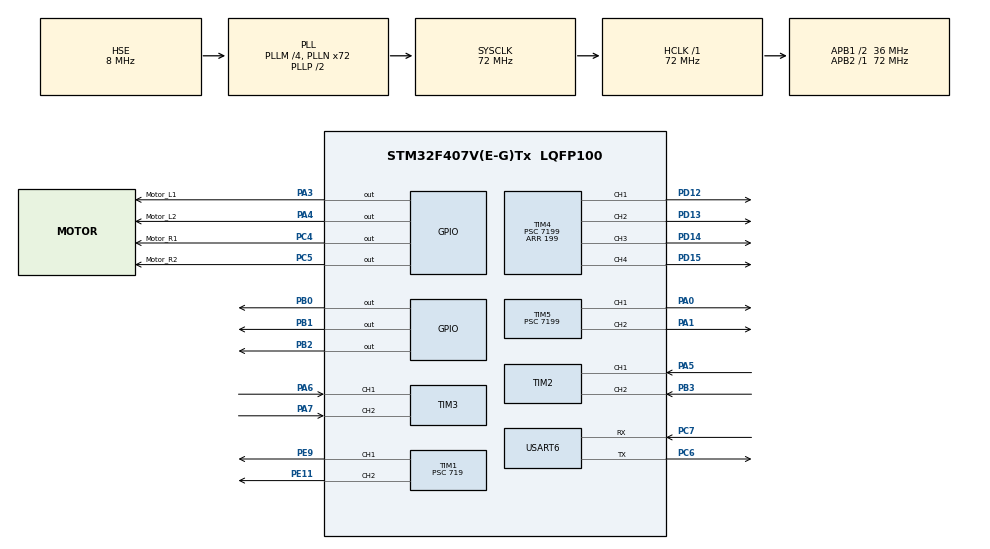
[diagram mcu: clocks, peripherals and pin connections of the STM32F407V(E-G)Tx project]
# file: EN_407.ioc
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Dma.Request0=USART6_RX
Dma.Request1=USART6_TX
Dma.USART6_RX.0.Direction=DMA_PERIPH_TO_MEMORY
Dma.USART6_RX.0.FIFOMode=DMA_FIFOMODE_DISABLE
Dma.USART6_RX.0.Instance=DMA2_Stream1
Dma.USART6_RX.0.MemDataAlignment=DMA_MDATAALIGN_BYTE
Dma.USART6_RX.0.MemInc=DMA_MINC_ENABLE
Dma.USART6_RX.0.Mode=DMA_CIRCULAR
Dma.USART6_RX.0.PeriphDataAlignment=DMA_PDATAALIGN_BYTE
Dma.USART6_RX.0.PeriphInc=DMA_PINC_DISABLE
Dma.USART6_RX.0.Priority=DMA_PRIORITY_MEDIUM
Dma.USART6_TX.1.Direction=DMA_MEMORY_TO_PERIPH
Dma.USART6_TX.1.FIFOMode=DMA_FIFOMODE_DISABLE
Dma.USART6_TX.1.Instance=DMA2_Stream6
Dma.USART6_TX.1.MemDataAlignment=DMA_MDATAALIGN_BYTE
Dma.USART6_TX.1.MemInc=DMA_MINC_ENABLE
Dma.USART6_TX.1.Mode=DMA_NORMAL
Dma.USART6_TX.1.PeriphDataAlignment=DMA_PDATAALIGN_BYTE
Dma.USART6_TX.1.PeriphInc=DMA_PINC_DISABLE
Dma.USART6_TX.1.Priority=DMA_PRIORITY_MEDIUM
Mcu.Family=STM32F4
Mcu.Name=STM32F407V(E-G)Tx
Mcu.Package=LQFP100
NVIC.DMA2_Stream1_IRQn=true\:0\:0\:false\:false\:true\:false\:true\:true
NVIC.DMA2_Stream6_IRQn=true\:0\:0\:false\:false\:true\:false\:true\:true
NVIC.PriorityGroup=NVIC_PRIORITYGROUP_4
NVIC.TIM1_CC_IRQn=true\:0\:0\:false\:false\:true\:true\:true\:true
NVIC.TIM2_IRQn=true\:0\:0\:false\:false\:true\:true\:true\:true
NVIC.TIM3_IRQn=true\:0\:0\:false\:false\:true\:true\:true\:true
NVIC.TIM4_IRQn=true\:0\:0\:false\:false\:true\:true\:true\:true
NVIC.TIM5_IRQn=true\:0\:0\:false\:false\:true\:true\:true\:true
NVIC.TIM6_DAC_IRQn=true\:1\:0\:true\:false\:true\:true\:true\:true
NVIC.USART6_IRQn=true\:2\:0\:true\:false\:true\:true\:true\:true
PA0-WKUP.Signal=S_TIM5_CH1
PA1.Signal=S_TIM5_CH2
PA13.Mode=Serial_Wire
PA13.Signal=SYS_JTMS-SWDIO
PA14.Mode=Serial_Wire
PA14.Signal=SYS_JTCK-SWCLK
PA3.GPIO_Label=Motor_L1
PA3.GPIO_PuPd=GPIO_PULLDOWN
PA3.GPIO_Speed=GPIO_SPEED_FREQ_HIGH
PA3.Signal=GPIO_Output
PA4.GPIO_Label=Motor_L2
PA4.GPIO_PuPd=GPIO_PULLDOWN
PA4.GPIO_Speed=GPIO_SPEED_FREQ_HIGH
PA4.Signal=GPIO_Output
PA5.Signal=S_TIM2_CH1_ETR
PA6.Signal=S_TIM3_CH1
PA7.Signal=S_TIM3_CH2
PB0.GPIO_ModeDefaultOutputPP=GPIO_MODE_OUTPUT_PP
PB0.GPIO_PuPd=GPIO_PULLDOWN
PB0.GPIO_Speed=GPIO_SPEED_FREQ_HIGH
PB0.Signal=GPIO_Output
PB1.GPIO_PuPd=GPIO_PULLDOWN
PB1.GPIO_Speed=GPIO_SPEED_FREQ_HIGH
PB1.Signal=GPIO_Output
PB2.GPIO_ModeDefaultOutputPP=GPIO_MODE_OUTPUT_PP
PB2.GPIO_PuPd=GPIO_PULLDOWN
PB2.GPIO_Speed=GPIO_SPEED_FREQ_HIGH
PB2.Signal=GPIO_Output
PB3.Signal=S_TIM2_CH2
PC4.GPIO_Label=Motor_R1
PC4.GPIO_PuPd=GPIO_PULLDOWN
PC4.GPIO_Speed=GPIO_SPEED_FREQ_HIGH
PC4.Signal=GPIO_Output
PC5.GPIO_Label=Motor_R2
PC5.GPIO_PuPd=GPIO_PULLDOWN
PC5.GPIO_Speed=GPIO_SPEED_FREQ_HIGH
PC5.Signal=GPIO_Output
PC6.Mode=Asynchronous
PC6.Signal=USART6_TX
PC7.Mode=Asynchronous
PC7.Signal=USART6_RX
PD12.Signal=S_TIM4_CH1
PD13.Signal=S_TIM4_CH2
PD14.Signal=S_TIM4_CH3
PD15.Signal=S_TIM4_CH4
PE11.Signal=S_TIM1_CH2
PE9.Signal=S_TIM1_CH1
PH0-OSC_IN.Mode=HSE-External-Oscillator
PH0-OSC_IN.Signal=RCC_OSC_IN
PH1-OSC_OUT.Mode=HSE-External-Oscillator
PH1-OSC_OUT.Signal=RCC_OSC_OUT
ProjectManager.HeapSize=0x200
ProjectManager.StackSize=0x400
ProjectManager.TargetToolchain=MDK-ARM V5.32
RCC.48MHZClocksFreq_Value=36000000
RCC.AHBFreq_Value=72000000
RCC.APB1CLKDivider=RCC_HCLK_DIV2
RCC.APB1Freq_Value=36000000
RCC.APB1TimFreq_Value=72000000
RCC.APB2Freq_Value=72000000
RCC.APB2TimFreq_Value=72000000
RCC.CortexFreq_Value=72000000
RCC.HCLKFreq_Value=72000000
RCC.HSE_VALUE=8000000
RCC.HSI_VALUE=16000000
RCC.LSE_VALUE=32768
RCC.PLLM=4
RCC.PLLN=72
RCC.PLLSourceVirtual=RCC_PLLSOURCE_HSE
RCC.SYSCLKFreq_VALUE=72000000
RCC.SYSCLKSource=RCC_SYSCLKSOURCE_PLLCLK
RCC.VCOOutputFreq_Value=144000000
SH.S_TIM1_CH1.0=TIM1_CH1,PWM Generation1 CH1
SH.S_TIM1_CH2.0=TIM1_CH2,PWM Generation2 CH2
SH.S_TIM2_CH1_ETR.0=TIM2_CH1,Encoder_Interface
SH.S_TIM2_CH2.0=TIM2_CH2,Encoder_Interface
SH.S_TIM3_CH1.0=TIM3_CH1,Encoder_Interface
SH.S_TIM3_CH2.0=TIM3_CH2,Encoder_Interface
SH.S_TIM4_CH1.0=TIM4_CH1,PWM Generation1 CH1
SH.S_TIM4_CH2.0=TIM4_CH2,PWM Generation2 CH2
SH.S_TIM4_CH3.0=TIM4_CH3,PWM Generation3 CH3
SH.S_TIM4_CH4.0=TIM4_CH4,PWM Generation4 CH4
SH.S_TIM5_CH1.0=TIM5_CH1,PWM Generation1 CH1
SH.S_TIM5_CH2.0=TIM5_CH2,PWM Generation2 CH2
TIM1.Channel-PWM\ Generation1\ CH1=TIM_CHANNEL_1
TIM1.Channel-PWM\ Generation2\ CH2=TIM_CHANNEL_2
TIM1.Period=99
TIM1.Prescaler=719
TIM4.AutoReloadPreload=TIM_AUTORELOAD_PRELOAD_ENABLE
TIM4.Channel-PWM\ Generation1\ CH1=TIM_CHANNEL_1
TIM4.Channel-PWM\ Generation2\ CH2=TIM_CHANNEL_2
TIM4.Channel-PWM\ Generation3\ CH3=TIM_CHANNEL_3
TIM4.Channel-PWM\ Generation4\ CH4=TIM_CHANNEL_4
TIM4.Period=199
TIM4.Prescaler=7199
TIM5.AutoReloadPreload=TIM_AUTORELOAD_PRELOAD_ENABLE
TIM5.Channel-PWM\ Generation1\ CH1=TIM_CHANNEL_1
TIM5.Channel-PWM\ Generation2\ CH2=TIM_CHANNEL_2
TIM5.Period=199
TIM5.Prescaler=7199
TIM6.Period=99
TIM6.Prescaler=7199
USART6.VirtualMode=VM_ASYNC
VP_TIM1_VS_ClockSourceINT.Mode=Internal
VP_TIM4_VS_ClockSourceINT.Mode=Internal
VP_TIM5_VS_ClockSourceINT.Mode=Internal
VP_TIM6_VS_ClockSourceINT.Mode=Enable_Timer
board=custom

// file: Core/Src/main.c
/* USER CODE BEGIN Header */
/**
  ******************************************************************************
  * @file           : main.c
  * @brief          : Main program body
  ******************************************************************************
  * @attention
  *
  * Copyright (c) 2022 STMicroelectronics.
  * All rights reserved.
  *
  * This software is licensed under terms that can be found in the LICENSE file
  * in the root directory of this software component.
  * If no LICENSE file comes with this software, it is provided AS-IS.
  *
  ******************************************************************************
  */
/* USER CODE END Header */
#include "main.h"
#include "dma.h"
#include "tim.h"
#include "usart.h"
#include "gpio.h"
#include "mypwm.h"
#include "stm32f4xx_hal.h"
#include "stdio.h"
#include "stm32f4xx_it.h"
#include "fuzzy_pid.h"

/* USER CODE BEGIN PTD */
int real_code_R=0;
float my_speed_R=0.0;
int real_code_L=0;
float my_speed_L=0.0;
int decode;
/* USER CODE END PTD */
extern vision_rxfifo_t vision_rxfifo;
 uint8_t rx_buffer_used[3]; //调用数据数组

/* USER CODE BEGIN PM */
float tar_speed_L;
float tar_speed_R;
/* USER CODE END PM */

void SystemClock_Config(void);
/* USER CODE BEGIN PFP */
float use_contral;
int std_right_left;
int std_up_down;
int std_right_get;
int std_left_get;
int std_center_get;
int std_both_get;
/* USER CODE END PFP */

/* USER CODE BEGIN 0 */

volatile uint8_t rx_len=0;  //接收到的数据长度
volatile uint8_t recv_end_flag=0;//接收成功标志位
uint8_t rx_buffer[50];//缓存数组

/* USER CODE END 0 */

int main(void)

{

  /* MCU Configuration--------------------------------------------------------*/

  /* Reset of all peripherals, Initializes the Flash interface and the Systick. */

	HAL_Init();

  /* Configure the system clock */
  SystemClock_Config();

  /* Initialize all configured peripherals */
  MX_GPIO_Init();
  MX_DMA_Init();
  MX_USART6_UART_Init();
  MX_TIM1_Init();
  MX_TIM2_Init();
  MX_TIM3_Init();
  MX_TIM4_Init();
  MX_TIM5_Init();
  MX_TIM6_Init();
  /* USER CODE BEGIN 2 */
	 vision_init();

	motor_init();
	HAL_TIM_Base_Start_IT((TIM_HandleTypeDef *) &htim6);
  /* USER CODE END 2 */

  /* Infinite loop */
	Servomotor_Init();
  while (1)
  {
//该条件编译用于测试
#if 1
		for(int i = 0; i < 3; i++)
		{
			rx_buffer_used[i] = (RxBufVal())[i];
		}
#else

		rx_buffer_used[0] = 8;

#endif
    //仅保留重要数据位其他位数据，其他位为零
		if(rx_buffer_used[0] == 4 && rx_buffer_used[1] == 0 && rx_buffer_used[2] == 0)   //后退
		{
			tar_speed_L = -(MOTOR_SPEED_MID + MOTOR_SPEED_DEV);
			tar_speed_R = -MOTOR_SPEED_MID;
		}else if(rx_buffer_used[0] == 2 && rx_buffer_used[1] == 0 && rx_buffer_used[2] == 0)  //左转
		{
			tar_speed_L = -MOTOR_TURN_SPEED;
			tar_speed_R = MOTOR_TURN_SPEED;
		}
		else if(rx_buffer_used[0] == 3 && rx_buffer_used[1] == 0 && rx_buffer_used[2] == 0)   //右转
		{
      //
			tar_speed_L = MOTOR_TURN_SPEED;
			tar_speed_R = -MOTOR_TURN_SPEED;
		}
		else if(rx_buffer_used[0] == 1 && rx_buffer_used[1] == 0 && rx_buffer_used[2] == 0)    //直行
		{
			tar_speed_L = (MOTOR_SPEED_MID + MOTOR_SPEED_DEV);
			tar_speed_R = MOTOR_SPEED_MID;
		}
		else if(rx_buffer_used[0] == 0 && rx_buffer_used[1] == 0 && rx_buffer_used[2] == 0)
    {
			tar_speed_L = MOTOR_SPEED_STOP; //停止
			tar_speed_R = MOTOR_SPEED_STOP;
		}
#if 1
    //向前左偏
    else if(rx_buffer_used[0] == 5 && rx_buffer_used[1] == 0 && rx_buffer_used[2] == 0)
    {
      tar_speed_L = MOTOR_SPEED_MID / 2;
      tar_speed_R = MOTOR_SPEED_MID;
    }
    //向前右偏
    else if (rx_buffer_used[0] == 6 && rx_buffer_used[1] == 0 && rx_buffer_used[2] == 0)
    {
      tar_speed_L = MOTOR_SPEED_MID;
      tar_speed_R = MOTOR_SPEED_MID / 2;
    }
    //向后左偏
    else if (rx_buffer_used[0] == 7 && rx_buffer_used[1] == 0 && rx_buffer_used[2] == 0)
    {
      tar_speed_L = -(MOTOR_SPEED_MID / 2);
      tar_speed_R = -MOTOR_SPEED_MID;
    }
    else if (rx_buffer_used[0] == 8 && rx_buffer_used[1] == 0 && rx_buffer_used[2] == 0)
    {
      tar_speed_L = -MOTOR_SPEED_MID;
      tar_speed_R = -(MOTOR_SPEED_MID / 2);
    }
#endif //
	//左侧夹爪
	 if(rx_buffer_used[0] == 0 && rx_buffer_used[1] == 10 && rx_buffer_used[2] == 0) //down
    {
			  Set_SG90_angle(&htim4,TIM_CHANNEL_1,0,200,20);
	}
		else if(rx_buffer_used[0] == 0 && rx_buffer_used[1]== 11 && rx_buffer_used[2] == 0)//up
    {
				Set_SG90_angle(&htim4,TIM_CHANNEL_1,90,200,20);
	}
	//前侧夹爪
		else if(rx_buffer_used[0] == 0 && rx_buffer_used[1]==20 && rx_buffer_used[2] == 0)//down
    {
				Set_SG90_angle(&htim4,TIM_CHANNEL_2,0,200,20);
	}
		else if(rx_buffer_used[0] == 0 && rx_buffer_used[1]==21 && rx_buffer_used[2] == 0)//up
    {
				Set_SG90_angle(&htim4,TIM_CHANNEL_2,90,200,20);
	}
	//右侧夹爪
		else if(rx_buffer_used[0] == 0 && rx_buffer_used[1]==30 && rx_buffer_used[2] == 0)//down
    {
				Set_SG90_angle(&htim4,TIM_CHANNEL_3,180,200,20);
		}
		else if(rx_buffer_used[0] == 0 && rx_buffer_used[1]==31 && rx_buffer_used[2] == 0)//up
    {
				Set_SG90_angle(&htim4,TIM_CHANNEL_3,90,200,20);
		}
    else if (rx_buffer_used[0] == 0 && rx_buffer_used[1] == 0 && rx_buffer_used[2] == 40)//圆筒关闭
    {
        //关闭左右侧夹爪
        Set_SG90_angle(&SERVO_BACK_GRAP_TIM, SERVO_BACK_GRAP_L_CHANNEL, SERVO_BACK_GRAP_L_CLOSE_ANGLE, 200, 20);
        Set_SG90_angle(&SERVO_BACK_GRAP_TIM, SERVO_BACK_GRAP_R_CHANNEL, SERVO_BACK_GRAP_R_CLOSE_ANGLE, 200, 20);
    }
    else if (rx_buffer_used[0] == 0 && rx_buffer_used[1] == 0 && rx_buffer_used[2] == 41)//圆筒张开
    {
        //张开左右侧夹抓
        Set_SG90_angle(&SERVO_BACK_GRAP_TIM, SERVO_BACK_GRAP_L_CHANNEL, SERVO_BACK_GRAP_L_OPEN_ANGLE, 200, 20);
        Set_SG90_angle(&SERVO_BACK_GRAP_TIM, SERVO_BACK_GRAP_R_CHANNEL, SERVO_BACK_GRAP_R_OPEN_ANGLE, 200, 20);
    }
    else if (rx_buffer_used[0] == 0 && rx_buffer_used[1] == 0 && rx_buffer_used[2] == 50)//后侧抬升舵机下降
    {
        //圆筒下降
        Set_SG90_angle(&SERVO_BACK_LIFT_TIM, SERVO_BACK_LIFT_CHANNEL, SERVO_BACK_LIFT_DOWN, 200, 20);
    }
    else if (rx_buffer_used[0] == 0 && rx_buffer_used[1] == 0 && rx_buffer_used[2] == 51)//后侧抬升电机上升
    {
        //圆筒上升
        Set_SG90_angle(&SERVO_BACK_LIFT_TIM, SERVO_BACK_LIFT_CHANNEL, SERVO_BACK_LIFT_UP, 200, 20);
    }

  }
  /* USER CODE END 3 */
}

void SystemClock_Config(void)
{
  RCC_OscInitTypeDef RCC_OscInitStruct = {0};
  RCC_ClkInitTypeDef RCC_ClkInitStruct = {0};

  /** Configure the main internal regulator output voltage
  */
  __HAL_RCC_PWR_CLK_ENABLE();
  __HAL_PWR_VOLTAGESCALING_CONFIG(PWR_REGULATOR_VOLTAGE_SCALE1);

  /** Initializes the RCC Oscillators according to the specified parameters
  * in the RCC_OscInitTypeDef structure.
  */
  RCC_OscInitStruct.OscillatorType = RCC_OSCILLATORTYPE_HSE;
  RCC_OscInitStruct.HSEState = RCC_HSE_ON;
  RCC_OscInitStruct.PLL.PLLState = RCC_PLL_ON;
  RCC_OscInitStruct.PLL.PLLSource = RCC_PLLSOURCE_HSE;
  RCC_OscInitStruct.PLL.PLLM = 4;
  RCC_OscInitStruct.PLL.PLLN = 72;
  RCC_OscInitStruct.PLL.PLLP = RCC_PLLP_DIV2;
  RCC_OscInitStruct.PLL.PLLQ = 4;
  if (HAL_RCC_OscConfig(&RCC_OscInitStruct) != HAL_OK)
  {
    Error_Handler();
  }

  /** Initializes the CPU, AHB and APB buses clocks
  */
  RCC_ClkInitStruct.ClockType = RCC_CLOCKTYPE_HCLK|RCC_CLOCKTYPE_SYSCLK
                              |RCC_CLOCKTYPE_PCLK1|RCC_CLOCKTYPE_PCLK2;
  RCC_ClkInitStruct.SYSCLKSource = RCC_SYSCLKSOURCE_PLLCLK;
  RCC_ClkInitStruct.AHBCLKDivider = RCC_SYSCLK_DIV1;
  RCC_ClkInitStruct.APB1CLKDivider = RCC_HCLK_DIV2;
  RCC_ClkInitStruct.APB2CLKDivider = RCC_HCLK_DIV1;

  if (HAL_RCC_ClockConfig(&RCC_ClkInitStruct, FLASH_LATENCY_2) != HAL_OK)
  {
    Error_Handler();
  }
}

void Error_Handler(void)
{
  __disable_irq();
  while (1)
  {
  }
}
